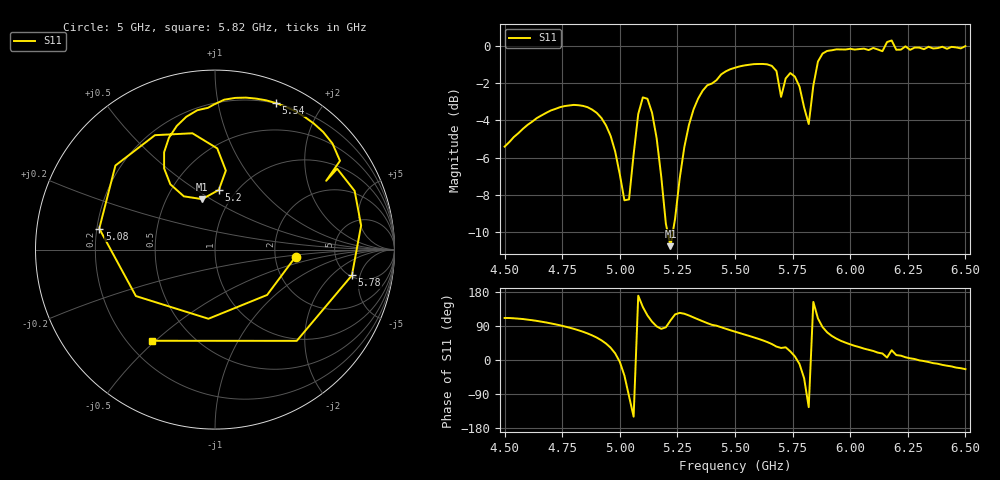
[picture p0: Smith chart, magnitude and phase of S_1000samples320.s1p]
! TOUCHSTONE file generated by CST MICROWAVE STUDIO
! Date and time: Thu Oct 27 18:35:23 2022
! Project name: L.cst
! Parameters = {Di=1.27; Epsilon_r=1.56; InnerDiameter=1.27; Length=2; Lf=10; Lg=60; OuterConductorThickness=0.2921; OuterDiameter=3.6; Wf=3; Wp=41.2; de=1.5; df=6.8; g=0.8; gx=0.629076; gy=4.14011; h=2.34; hf=1.524; px=14.2371; py=8.90034; w=9.7; wx=13.608; wy=4.76023}
! Header version: 2018
! Port assignment regex: !\s*Touchstone port\s*([0-9]+)\s*=\s*(CST MWS port|CST DS port)\s*([0-9]+|Zmin|Zmax)\s*\(\"(.*)\"\)(\s*mode\s*([0-9]+))?.*
! Touchstone port assignment:
! Touchstone port 1 = CST MWS port 1 ("")
# GHz S DB R 50
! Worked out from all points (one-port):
!   101 points, 4.5 GHz to 6.5 GHz, reference 50 ohm
!   lowest |S11| = -10.8 dB at 5.22 GHz (marker M1), VSWR 1.82, Z = 37.3 + j22.9 ohm
!   |S11| at or under -10 dB: 5.20751 GHz to 5.230145 GHz (22.64 MHz wide, 0.434 % of centre)
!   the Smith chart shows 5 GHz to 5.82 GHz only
!   S11 on the Smith chart (normalised r, x): 5 GHz: 2.62, -0.25; 5.08 GHz: 0.21, +0.09; 5.2 GHz: 0.83, +0.62; 5.54 GHz: 0.20, +1.48; 5.78 GHz: 5.18, -3.73; 5.82 GHz: 0.30, -0.49
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4.5  -5.42 110.9
4.76  -3.25 88.6
4.9  -3.61 59.1
5  -6.90 -4.9
5.04  -8.25 -95.4
5.08  -3.67 169.7
5.12  -2.85 117.7
5.16  -4.97 88.7
5.2  -9.55 86.3
5.22  -10.75 104.3
5.26  -7.12 124.4
5.36  -2.41 102.2
5.5  -1.19 74.8
5.54  -1.07 67.4
5.72  -1.76 33.5
5.76  -1.67 9.4
5.78  -2.20 -10.6
5.8  -3.32 -48.1
5.82  -4.21 -124.4
5.84  -2.15 153.3
5.86  -0.86 109.6
5.92  -0.26 63.6
6  -0.18 41.3
6.16  0.19 6.5
6.18  0.27 25.8
6.2  -0.23 13.0
6.26  -0.23 4.5
6.5  -0.03 -24.2
